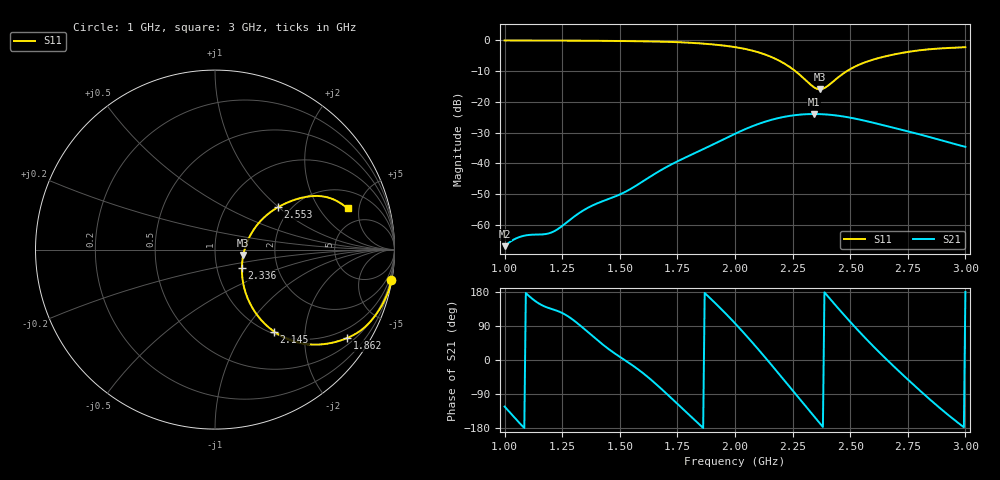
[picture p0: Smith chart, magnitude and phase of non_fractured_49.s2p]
! TOUCHSTONE file generated by CST MICROWAVE STUDIO
! Date and time: Sat Mar  8 13:54:15 2025
! Project name: non_fractured.cst
! Parameters = {B=2.5; D=160; F=20; Feed=2.85625; L=100; M=5; R=0.384908; S=1; Theta=0; length=57.125; wave=114.25}
! Header version: 2024
! Port assignment regex: !\s*Touchstone port\s*([0-9]+)\s*=\s*(CST MWS port|CST DES external port|CST DES block port)\s*(.+)\s* \(\"(.*)\"\)(\s*mode\s*([0-9]+))?.*
! Touchstone port assignment:
! Touchstone port 1 = CST MWS port 1 ("")
! Touchstone port 2 = CST MWS port 2 ("")
# GHz S DB R 50
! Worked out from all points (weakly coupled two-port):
!   305 points, 1 GHz to 3 GHz, reference 50 ohm
!   highest |S21| = -23.94 dB at 2.342 GHz (marker M1); lowest = -66.9 dB at 1 GHz (marker M2)
!   lowest |S11| = -15.9 dB at 2.368 GHz (marker M3), VSWR 1.38, Z = 68.5 - j4.3 ohm
!   |S11| at or under -10 dB: 2.262 GHz to 2.486 GHz (223.5 MHz wide, 9.42 % of centre)
!   S12 and S22 are empty: the file has one direction only
!   S11 on the Smith chart (normalised r, x): 1 GHz: 0, -12; 1.862 GHz: 0.69, -3.16; 2.145 GHz: 1.04, -1.39; 2.336 GHz: 1.32, -0.28; 2.553 GHz: 1.72, +0.99; 3 GHz: 3.33, +3.82
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1  -0.02 -9.8  -66.92 -123.0  -200.00 0.0  -200.00 0.0
1.03289  -0.02 -10.3  -65.06 -145.3  -200.00 0.0  -200.00 0.0
1.07237  -0.03 -10.8  -63.75 -171.3  -200.00 0.0  -200.00 0.0
1.17763  -0.04 -12.4  -62.99 140.3  -200.00 0.0  -200.00 0.0
1.21053  -0.05 -13.0  -62.24 133.4  -200.00 0.0  -200.00 0.0
1.33553  -0.09 -15.3  -55.57 87.2  -200.00 0.0  -200.00 0.0
1.52632  -0.21 -19.8  -49.16 -2.3  -200.00 0.0  -200.00 0.0
1.67105  -0.39 -24.5  -42.52 -71.1  -200.00 0.0  -200.00 0.0
1.86184  -1.05 -33.8  -35.38 -179.4  -200.00 0.0  -200.00 0.0
2  -2.18 -42.9  -30.36 96.9  -200.00 0.0  -200.00 0.0
2.07895  -3.40 -49.2  -27.80 43.6  -200.00 0.0  -200.00 0.0
2.14474  -4.99 -54.2  -26.12 -3.2  -200.00 0.0  -200.00 0.0
2.23684  -8.61 -57.2  -24.55 -70.6  -200.00 0.0  -200.00 0.0
2.33553  -14.84 -34.3  -23.94 -143.2  -200.00 0.0  -200.00 0.0
2.34211  -15.20 -30.2  -23.94 -148.0  -200.00 0.0  -200.00 0.0
2.36842  -15.90 -11.0  -23.98 -167.1  -200.00 0.0  -200.00 0.0
2.39474  -15.21 7.8  -24.08 173.9  -200.00 0.0  -200.00 0.0
2.46053  -11.29 30.4  -24.63 127.6  -200.00 0.0  -200.00 0.0
2.55263  -7.46 33.9  -25.94 66.2  -200.00 0.0  -200.00 0.0
2.67105  -4.87 30.6  -28.09 -6.2  -200.00 0.0  -200.00 0.0
2.83553  -2.94 23.3  -31.24 -98.5  -200.00 0.0  -200.00 0.0
3  -2.22 17.2  -34.60 179.5  -200.00 0.0  -200.00 0.0
